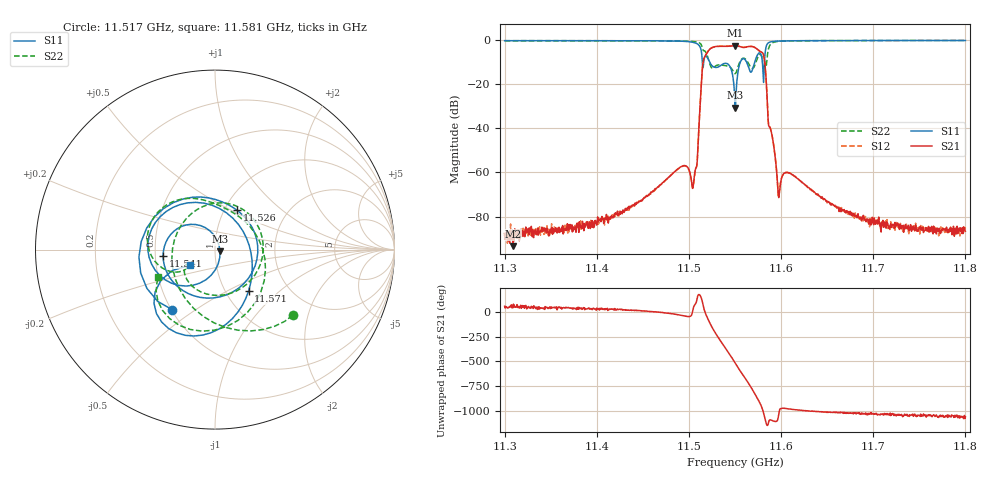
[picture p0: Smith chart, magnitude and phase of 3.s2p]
# Hz S DB R 50
! Planar, S50244, 24171007, 25.4.1/6
! Date: 15.10.2025 10:24:34
! Data: Format (Calibration Info)
! Freq	S11:dB/Ang(F2)	S21:dB/Ang(F2)	S12:dB/Ang(F2)	S22:dB/Ang(F2)
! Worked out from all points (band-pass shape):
!   1001 points, 11.3 GHz to 11.8 GHz, reference 50 ohm
!   highest |S21| = -2.53 dB at 11.55 GHz (marker M1); lowest = -93.4 dB at 11.309 GHz (marker M2)
!   |S21| within 3 dB of the highest: 11.52 GHz to 11.579 GHz (58.8 MHz wide, 0.509 % of centre)
!   lowest |S11| = -30.7 dB at 11.55 GHz (marker M3), VSWR 1.06, Z = 52.9 - j0.971 ohm
!   |S11| at or under -10 dB: 11.52254 GHz to 11.5558 GHz (33.26 MHz wide, 0.288 % of centre); 11.56254 GHz to 11.5714 GHz (8.865 MHz wide, 0.0766 % of centre); 11.57966 GHz to 11.58196 GHz (2.297 MHz wide, 0.0198 % of centre)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
!   |S22| runs from -15.3 to -0.2 dB; largest |S21 - S12| = 0.012
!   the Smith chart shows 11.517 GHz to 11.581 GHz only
!   S11 on the Smith chart (normalised r, x): 11.517 GHz: 0.51, -0.41; 11.526 GHz: 1.14, +0.54; 11.541 GHz: 0.55, -0.04; 11.571 GHz: 1.28, -0.65; 11.581 GHz: 0.74, -0.13
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1.13e10  -0.32 144.8  -87.70 55.5  -88.34 72.2  -0.31 143.0
1.1309e10  -0.32 143.1  -93.44 40.5  -87.72 41.9  -0.31 141.4
1.13835e10  -0.33 126.0  -84.54 39.4  -84.06 24.3  -0.32 125.9
1.1467e10  -0.38 85.0  -66.63 -3.7  -66.52 -2.7  -0.34 92.1
1.15055e10  -1.16 -12.7  -63.08 58.5  -63.16 60.0  -0.72 31.2
1.1517e10  -7.73 -125.4  -7.81 9.5  -7.64 9.5  -4.93 -40.2
1.15215e10  -9.13 131.3  -4.68 -90.6  -4.63 -91.7  -9.17 -110.1
1.1526e10  -12.00 60.9  -3.26 -171.7  -3.36 -172.1  -12.68 142.7
1.1533e10  -11.97 -58.6  -2.85 83.4  -2.87 83.9  -11.26 42.4
1.15415e10  -10.72 -173.4  -2.87 -32.9  -2.78 -33.3  -11.76 -71.1
1.155e10  -29.56 48.0  -2.53 -154.3  -2.60 -154.6  -15.27 -151.3
1.15505e10  -30.65 -18.2  -2.53 -161.8  -2.60 -162.1  -15.20 -149.7
1.15585e10  -8.54 -179.5  -3.33 82.9  -3.35 82.8  -8.28 166.8
1.1565e10  -12.76 83.7  -2.93 -6.8  -2.99 -6.8  -10.91 103.5
1.1571e10  -10.55 -50.9  -3.28 -99.9  -3.30 -99.5  -11.99 11.6
1.15755e10  -6.10 -103.7  -4.68 -175.0  -4.65 -174.8  -7.26 -81.2
1.15805e10  -15.58 -148.2  -6.17 73.9  -6.23 73.6  -9.06 -154.0
1.15865e10  -1.21 -118.5  -38.74 -34.1  -38.59 -33.7  -3.76 -59.7
1.15975e10  -0.47 -159.6  -71.42 50.1  -71.04 50.1  -0.63 -147.2
1.16335e10  -0.30 160.8  -68.32 76.6  -68.20 76.3  -0.30 161.7
1.1717e10  -0.25 129.9  -85.03 48.3  -84.09 45.2  -0.23 129.0
1.18e10  -0.22 112.5  -86.67 16.7  -85.77 25.8  -0.21 111.9
